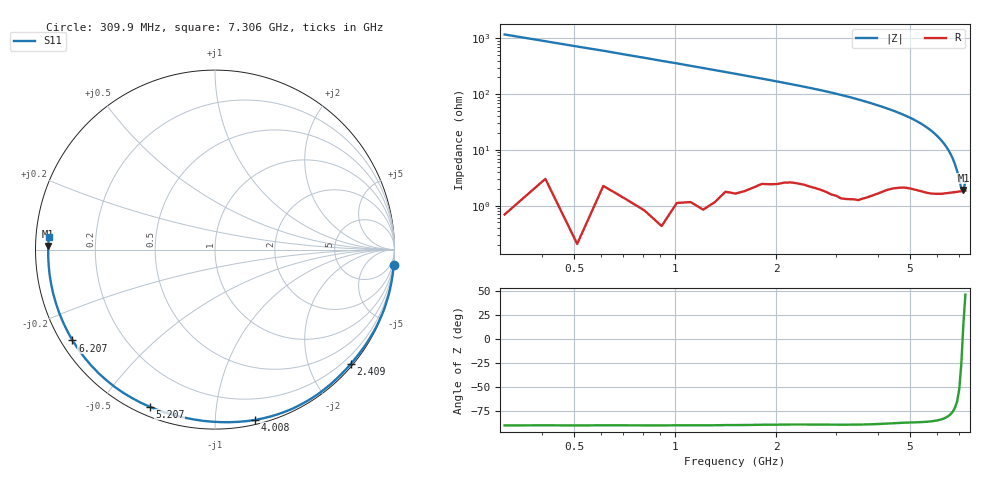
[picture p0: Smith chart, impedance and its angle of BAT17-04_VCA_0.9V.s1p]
! Infineon Technologies  Discrete & RF Semiconductors
! BAT17-04
! VCA = 0.9 V
! One-Port S-Parameters
# Hz  S  MA  R  50
!f  S11
!Hz  Mag  Ang
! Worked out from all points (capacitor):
!   71 points, 309.9 MHz to 7.306 GHz, reference 50 ohm
!   read as one part to ground: C = 434 fF near 309.9 MHz
!   lowest |Z| = 1.9 ohm at 7.206 GHz (marker M1)
!   series resonance near 7.17 GHz, so ESL is about 1.1 nH
!   S11 on the Smith chart (normalised r, x): 309.9 MHz: 0, -24; 2.409 GHz: 0.05, -2.73; 4.008 GHz: 0.03, -1.26; 5.207 GHz: 0.04, -0.67; 6.207 GHz: 0.03, -0.29; 7.306 GHz: 0.04, +0.04
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3.0985e8  1 -4.9
8.096e8  0.9996 -12.7
1.2094e9  0.999 -19.3
1.6092e9  0.9963 -26.0
2.10895e9  0.9908 -34.8
2.4088e9  0.9888 -40.2
2.70865e9  0.9883 -45.9
3.0085e9  0.9884 -52.2
3.2084e9  0.9882 -56.7
3.4083e9  0.9866 -61.4
3.6082e9  0.9841 -66.3
3.8081e9  0.98 -71.5
4.008e9  0.9748 -76.9
4.2079e9  0.9683 -82.3
4.4078e9  0.9619 -88.0
4.70765e9  0.9538 -96.9
5.0075e9  0.9493 -106.1
5.2074e9  0.9481 -112.6
5.4073e9  0.9474 -119.3
5.6072e9  0.9472 -126.3
5.8071e9  0.946 -133.3
5.90705e9  0.9448 -136.9
6.2069e9  0.9415 -147.5
6.50675e9  0.937 -158.0
6.8066e9  0.9329 -168.1
7.0065e9  0.9308 -174.7
7.2064e9  0.9291 178.9
7.30635e9  0.9284 175.6
